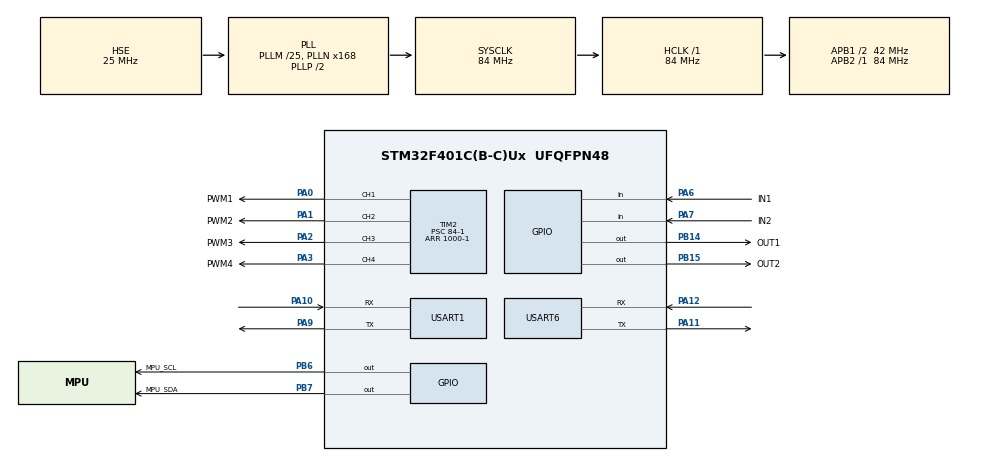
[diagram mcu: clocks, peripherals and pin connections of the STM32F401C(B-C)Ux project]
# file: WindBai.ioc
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Dma.Request0=USART1_RX
Dma.Request1=USART1_TX
Dma.USART1_RX.0.Direction=DMA_PERIPH_TO_MEMORY
Dma.USART1_RX.0.FIFOMode=DMA_FIFOMODE_DISABLE
Dma.USART1_RX.0.Instance=DMA2_Stream2
Dma.USART1_RX.0.MemDataAlignment=DMA_MDATAALIGN_BYTE
Dma.USART1_RX.0.MemInc=DMA_MINC_ENABLE
Dma.USART1_RX.0.Mode=DMA_NORMAL
Dma.USART1_RX.0.PeriphDataAlignment=DMA_PDATAALIGN_BYTE
Dma.USART1_RX.0.PeriphInc=DMA_PINC_DISABLE
Dma.USART1_RX.0.Priority=DMA_PRIORITY_LOW
Dma.USART1_TX.1.Direction=DMA_MEMORY_TO_PERIPH
Dma.USART1_TX.1.FIFOMode=DMA_FIFOMODE_DISABLE
Dma.USART1_TX.1.Instance=DMA2_Stream7
Dma.USART1_TX.1.MemDataAlignment=DMA_MDATAALIGN_BYTE
Dma.USART1_TX.1.MemInc=DMA_MINC_ENABLE
Dma.USART1_TX.1.Mode=DMA_NORMAL
Dma.USART1_TX.1.PeriphDataAlignment=DMA_PDATAALIGN_BYTE
Dma.USART1_TX.1.PeriphInc=DMA_PINC_DISABLE
Dma.USART1_TX.1.Priority=DMA_PRIORITY_LOW
Mcu.Family=STM32F4
Mcu.Name=STM32F401C(B-C)Ux
Mcu.Package=UFQFPN48
NVIC.DMA2_Stream2_IRQn=true\:0\:0\:false\:false\:true\:false\:true\:true
NVIC.DMA2_Stream7_IRQn=true\:0\:0\:false\:false\:true\:false\:true\:true
NVIC.PriorityGroup=NVIC_PRIORITYGROUP_4
NVIC.TIM4_IRQn=true\:0\:0\:false\:false\:true\:true\:true\:true
NVIC.USART1_IRQn=true\:0\:0\:false\:false\:true\:true\:true\:true
NVIC.USART6_IRQn=true\:0\:0\:false\:false\:true\:true\:true\:true
PA0-WKUP.GPIO_Label=PWM1
PA0-WKUP.Signal=S_TIM2_CH1_ETR
PA1.GPIO_Label=PWM2
PA1.Signal=S_TIM2_CH2
PA10.Mode=Asynchronous
PA10.Signal=USART1_RX
PA11.Mode=Asynchronous
PA11.Signal=USART6_TX
PA12.Mode=Asynchronous
PA12.Signal=USART6_RX
PA13.Mode=Serial_Wire
PA13.Signal=SYS_JTMS-SWDIO
PA14.Mode=Serial_Wire
PA14.Signal=SYS_JTCK-SWCLK
PA2.GPIO_Label=PWM3
PA2.Signal=S_TIM2_CH3
PA3.GPIO_Label=PWM4
PA3.Signal=S_TIM2_CH4
PA6.GPIO_Label=IN1
PA6.GPIO_PuPd=GPIO_PULLDOWN
PA6.Signal=GPIO_Input
PA7.GPIO_Label=IN2
PA7.GPIO_PuPd=GPIO_PULLDOWN
PA7.Signal=GPIO_Input
PA9.Mode=Asynchronous
PA9.Signal=USART1_TX
PB14.GPIO_Label=OUT1
PB14.Signal=GPIO_Output
PB15.GPIO_Label=OUT2
PB15.Signal=GPIO_Output
PB6.GPIO_Label=MPU_SCL
PB6.GPIO_ModeDefaultOutputPP=GPIO_MODE_OUTPUT_OD
PB6.GPIO_PuPd=GPIO_PULLUP
PB6.Signal=GPIO_Output
PB7.GPIO_Label=MPU_SDA
PB7.GPIO_ModeDefaultOutputPP=GPIO_MODE_OUTPUT_OD
PB7.GPIO_PuPd=GPIO_PULLUP
PB7.Signal=GPIO_Output
PH0\ -\ OSC_IN.Mode=HSE-External-Oscillator
PH0\ -\ OSC_IN.Signal=RCC_OSC_IN
PH1\ -\ OSC_OUT.Mode=HSE-External-Oscillator
PH1\ -\ OSC_OUT.Signal=RCC_OSC_OUT
ProjectManager.HeapSize=0x200
ProjectManager.StackSize=0x400
ProjectManager.TargetToolchain=MDK-ARM V5.32
RCC.48MHZClocksFreq_Value=42000000
RCC.AHBFreq_Value=84000000
RCC.APB1CLKDivider=RCC_HCLK_DIV2
RCC.APB1Freq_Value=42000000
RCC.APB1TimFreq_Value=84000000
RCC.APB2Freq_Value=84000000
RCC.APB2TimFreq_Value=84000000
RCC.CortexFreq_Value=84000000
RCC.HCLKFreq_Value=84000000
RCC.HSE_VALUE=25000000
RCC.HSI_VALUE=16000000
RCC.LSE_VALUE=32768
RCC.PLLM=25
RCC.PLLN=168
RCC.PLLSourceVirtual=RCC_PLLSOURCE_HSE
RCC.SYSCLKFreq_VALUE=84000000
RCC.SYSCLKSource=RCC_SYSCLKSOURCE_PLLCLK
RCC.VCOOutputFreq_Value=168000000
SH.S_TIM2_CH1_ETR.0=TIM2_CH1,PWM Generation1 CH1
SH.S_TIM2_CH2.0=TIM2_CH2,PWM Generation2 CH2
SH.S_TIM2_CH3.0=TIM2_CH3,PWM Generation3 CH3
SH.S_TIM2_CH4.0=TIM2_CH4,PWM Generation4 CH4
TIM2.Channel-PWM\ Generation1\ CH1=TIM_CHANNEL_1
TIM2.Channel-PWM\ Generation2\ CH2=TIM_CHANNEL_2
TIM2.Channel-PWM\ Generation3\ CH3=TIM_CHANNEL_3
TIM2.Channel-PWM\ Generation4\ CH4=TIM_CHANNEL_4
TIM2.Period=1000-1
TIM2.Prescaler=84-1
TIM4.Period=1000-1
TIM4.Prescaler=84-1
USART1.VirtualMode=VM_ASYNC
USART6.VirtualMode=VM_ASYNC
VP_TIM4_VS_ClockSourceINT.Mode=Internal
board=custom

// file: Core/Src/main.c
/* USER CODE BEGIN Header */
/**
  ******************************************************************************
  * @file           : main.c
  * @brief          : Main program body
  ******************************************************************************
  * @attention
  *
  * Copyright (c) 2023 STMicroelectronics.
  * All rights reserved.
  *
  * This software is licensed under terms that can be found in the LICENSE file
  * in the root directory of this software component.
  * If no LICENSE file comes with this software, it is provided AS-IS.
  *
  ******************************************************************************
  */
/* USER CODE END Header */
#include "main.h"
#include "dma.h"
#include "tim.h"
#include "usart.h"
#include "gpio.h"

/* USER CODE BEGIN Includes */
#include "PrePosition.h"
#include "mpu6050.h"
#include "stdio.h"
#include "Motor.h"
#include "PID.h"
#include "stdlib.h"
/* USER CODE END Includes */

/* USER CODE BEGIN PV */
float pitch;
float roll;
float yaw;
nowXY nowPos;
int32_t timeCNT;

uint8_t aRxBuffer;               //??????
uint8_t Uart1_RxBuff[256] = {0}; //????
uint8_t Uart1_Rx_Cnt = 0;        //??????
uint8_t Uart1_RxFlag = 0;
uint8_t cAlmStr[] = "????(??256)\r\n";
int mode = 1,digit;
int length,angle;
/* USER CODE END PV */

void SystemClock_Config(void);

/* USER CODE BEGIN 0 */
int mode_decode(uint8_t *RxBuff)
{
	return RxBuff[0]-'0';
}

int digit_decode(uint8_t *RxBuff)
{
	return (int)atoi((char *)(RxBuff+1));
}

/* USER CODE END 0 */

int main(void)
{

  /* MCU Configuration--------------------------------------------------------*/

  /* Reset of all peripherals, Initializes the Flash interface and the Systick. */
  HAL_Init();

  /* Configure the system clock */
  SystemClock_Config();

  /* Initialize all configured peripherals */
  MX_GPIO_Init();
  MX_DMA_Init();
  MX_TIM2_Init();
  MX_USART1_UART_Init();
  MX_USART6_UART_Init();
  MX_TIM4_Init();
  /* USER CODE BEGIN 2 */
	MPU_Init();
	PID_Init(&thisPID, 1, 0, 0);
	PID_Init(&speed_pid, 2 , 0 , 0);
	HAL_TIM_PWM_Start(&htim2, TIM_CHANNEL_1);
	HAL_TIM_PWM_Start(&htim2, TIM_CHANNEL_2);
	HAL_TIM_PWM_Start(&htim2, TIM_CHANNEL_3);
	HAL_TIM_PWM_Start(&htim2, TIM_CHANNEL_4);
	HAL_UART_Receive_IT(&huart1, (uint8_t *)&aRxBuffer, 1);
	HAL_UART_Receive_IT(&huart6, (uint8_t *)&aRxBuffer, 1);
  printf("print ok\n");
  while(mpu_dmp_init())
  {
    HAL_Delay(20);
//    printf("dmp initing\n");
  }
//  printf("dmp init success\n");
//	HAL_Delay(6000);
	HAL_TIM_Base_Start_IT(&htim4);
  /* USER CODE END 2 */

  /* Infinite loop */
  /* USER CODE BEGIN WHILE */
  while (1)
  {
		if(Uart1_RxFlag != 0)
		{
			mode = mode_decode(Uart1_RxBuff);
			digit = digit_decode(Uart1_RxBuff);
			angle = digit/10;
			length = digit - (digit/10)*10;
			Uart1_RxFlag = 0;
			Uart1_Rx_Cnt = 0;
			memset(Uart1_RxBuff,0x00,256);
		}
    /* USER CODE END WHILE */

    /* USER CODE BEGIN 3 */

		graphControl(mode, nowPos, timeCNT, length, angle);

		printf("time:%d\n", timeCNT);

  }
  /* USER CODE END 3 */
}

void SystemClock_Config(void)
{
  RCC_OscInitTypeDef RCC_OscInitStruct = {0};
  RCC_ClkInitTypeDef RCC_ClkInitStruct = {0};

  /** Configure the main internal regulator output voltage
  */
  __HAL_RCC_PWR_CLK_ENABLE();
  __HAL_PWR_VOLTAGESCALING_CONFIG(PWR_REGULATOR_VOLTAGE_SCALE2);

  /** Initializes the RCC Oscillators according to the specified parameters
  * in the RCC_OscInitTypeDef structure.
  */
  RCC_OscInitStruct.OscillatorType = RCC_OSCILLATORTYPE_HSE;
  RCC_OscInitStruct.HSEState = RCC_HSE_ON;
  RCC_OscInitStruct.PLL.PLLState = RCC_PLL_ON;
  RCC_OscInitStruct.PLL.PLLSource = RCC_PLLSOURCE_HSE;
  RCC_OscInitStruct.PLL.PLLM = 25;
  RCC_OscInitStruct.PLL.PLLN = 168;
  RCC_OscInitStruct.PLL.PLLP = RCC_PLLP_DIV2;
  RCC_OscInitStruct.PLL.PLLQ = 4;
  if (HAL_RCC_OscConfig(&RCC_OscInitStruct) != HAL_OK)
  {
    Error_Handler();
  }

  /** Initializes the CPU, AHB and APB buses clocks
  */
  RCC_ClkInitStruct.ClockType = RCC_CLOCKTYPE_HCLK|RCC_CLOCKTYPE_SYSCLK
                              |RCC_CLOCKTYPE_PCLK1|RCC_CLOCKTYPE_PCLK2;
  RCC_ClkInitStruct.SYSCLKSource = RCC_SYSCLKSOURCE_PLLCLK;
  RCC_ClkInitStruct.AHBCLKDivider = RCC_SYSCLK_DIV1;
  RCC_ClkInitStruct.APB1CLKDivider = RCC_HCLK_DIV2;
  RCC_ClkInitStruct.APB2CLKDivider = RCC_HCLK_DIV1;

  if (HAL_RCC_ClockConfig(&RCC_ClkInitStruct, FLASH_LATENCY_2) != HAL_OK)
  {
    Error_Handler();
  }
}

/* USER CODE BEGIN 4 */

void HAL_TIM_PeriodElapsedCallback(TIM_HandleTypeDef *htim)
{
	if(htim->Instance == htim4.Instance)	// �?1ms进入�?次中�?
	{
		timeCNT++;
		if (timeCNT >= 429496729) timeCNT = 0;
	}
}

void HAL_UART_RxCpltCallback(UART_HandleTypeDef *huart)
{
  /* Prevent unused argument(s) compilation warning */
  UNUSED(huart);
 if(huart == &huart1)
	{
	if(Uart1_Rx_Cnt >= 255)  //溢出判断
	{
		Uart1_Rx_Cnt = 0;
		memset(Uart1_RxBuff,0x00,sizeof(Uart1_RxBuff));
		HAL_UART_Transmit(&huart1, (uint8_t *)&cAlmStr, sizeof(cAlmStr),0xFFFF);
	}
	else
	{
		Uart1_RxBuff[Uart1_Rx_Cnt++] = aRxBuffer;   //接收数据转存

		if((Uart1_RxBuff[Uart1_Rx_Cnt-1] == 0x0A)&&(Uart1_RxBuff[Uart1_Rx_Cnt-2] == 0x0D)) //判断结束???
		{
			Uart1_RxFlag = 1;
			HAL_GPIO_WritePin(GPIOC,GPIO_PIN_13,1);
		}
	}
}
	HAL_UART_Receive_IT(&huart1, (uint8_t *)&aRxBuffer, 1);   //再开启接收中???

	if(huart == &huart6)
	{
	if(Uart1_Rx_Cnt >= 255)  //溢出判断
	{
		Uart1_Rx_Cnt = 0;
		memset(Uart1_RxBuff,0x00,sizeof(Uart1_RxBuff));
		HAL_UART_Transmit(&huart6, (uint8_t *)&cAlmStr, sizeof(cAlmStr),0xFFFF);
	}
	else
	{
		Uart1_RxBuff[Uart1_Rx_Cnt++] = aRxBuffer;   //接收数据转存

		if((Uart1_RxBuff[Uart1_Rx_Cnt-1] == 0x0A)&&(Uart1_RxBuff[Uart1_Rx_Cnt-2] == 0x0D)) //判断结束???
		{
			Uart1_RxFlag = 1;
			HAL_GPIO_WritePin(GPIOC,GPIO_PIN_13,1);
		}
	}
}
	HAL_UART_Receive_IT(&huart6, (uint8_t *)&aRxBuffer, 1);   //再开启接收中???
}

/* USER CODE END 4 */

void Error_Handler(void)
{
  __disable_irq();
  while (1)
  {
  }
}
